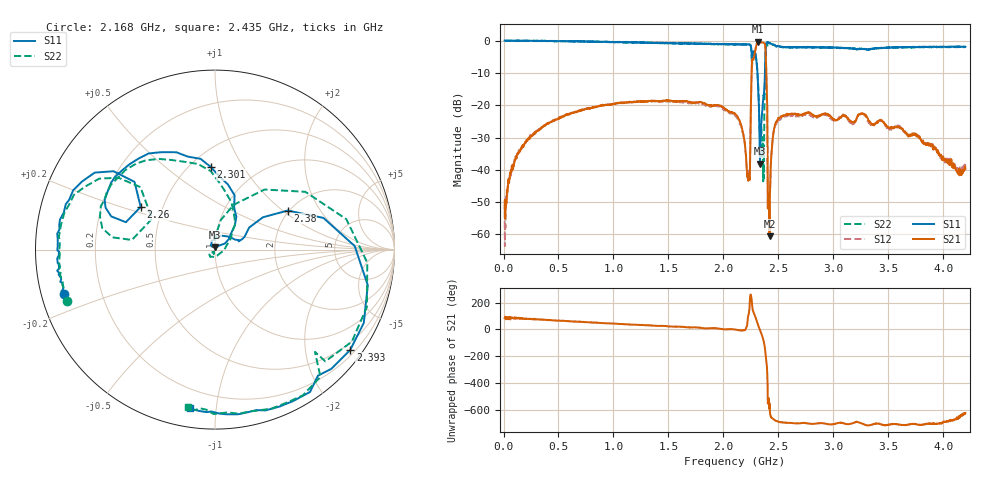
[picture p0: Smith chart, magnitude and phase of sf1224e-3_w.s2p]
!Agilent Technologies,E5071C,MY46104097,A.08.12
!Date: Thu Apr 20 13:38:49 2017
!Data & Calibration Information:
!Freq	S11:SOLT2(ON)	S21:SOLT2(ON)	S12:SOLT2(ON)	S22:SOLT2(ON)
# Hz S RI R 50
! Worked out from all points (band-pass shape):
!   1601 points, 10 MHz to 4.2 GHz, reference 50 ohm
!   highest |S21| = -0.34 dB at 2.317 GHz (marker M1); lowest = -60.6 dB at 2.419 GHz (marker M2)
!   |S21| within 3 dB of the highest: 2.287 GHz to 2.383 GHz (96.39 MHz wide, 4.13 % of centre)
!   lowest |S11| = -38.1 dB at 2.333 GHz (marker M3), VSWR 1.03, Z = 49.7 + j1.21 ohm
!   |S11| at or under -10 dB: 2.309 GHz to 2.377 GHz (67.74 MHz wide, 2.89 % of centre)
!   |S22| runs from -43.6 to 0.0 dB; largest |S21 - S12| = 0.035
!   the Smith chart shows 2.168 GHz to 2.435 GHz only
!   S11 on the Smith chart (normalised r, x): 2.168 GHz: 0.07, -0.14; 2.26 GHz: 0.38, +0.23; 2.301 GHz: 0.63, +0.73; 2.38 GHz: 1.96, +1.08; 2.393 GHz: 0.32, -2.99; 2.435 GHz: 0.10, -0.85
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1e7  1.004 -0.0155  0.000238 0.00249  -0.000707 0.00221  0.993 -0.0155
9.118125e7  0.9933 -0.1032  0.00121 0.0115  0.00106 0.0124  0.9939 -0.1076
2.247375e8  0.9591 -0.2651  0.00674 0.03  0.00464 0.0302  0.9564 -0.2734
7.092062e8  0.6476 -0.7245  0.0452 0.0686  0.0492 0.0704  0.6389 -0.734
1.408412e9  -0.0791 -0.918  0.1022 0.05  0.1053 0.0483  -0.0788 -0.9188
2.105e9  -0.7614 -0.416  0.0728 0.000171  0.0709 -0.000875  -0.7683 -0.4367
2.16785e9  -0.8393 -0.2478  0.0437 -0.00504  0.0427 -0.00288  -0.8235 -0.285
2.222844e9  -0.876 0.0391  -0.000281 0.00717  0.00036 0.00661  -0.8683 -0.0064
2.259506e9  -0.4141 0.2379  -0.4737 -0.0971  -0.4742 -0.1048  -0.3506 0.1718
2.277838e9  -0.558 0.4041  -0.2726 0.49  -0.2753 0.487  -0.6036 0.3165
2.301406e9  -0.023 0.46  0.3657 0.8094  0.3495 0.8294  -0.0955 0.4773
2.317119e9  0.1101 0.1339  0.8504 0.449  0.8643 0.4539  0.1129 0.145
2.332831e9  -0.00248 0.0122  0.9411 -0.0887  0.9484 -0.0879  0.0117 -0.0342
2.351162e9  0.021 0.0727  0.6584 -0.6688  0.6742 -0.685  -0.0256 -0.0197
2.379969e9  0.4047 0.2176  -0.7927 -0.272  -0.8021 -0.2493  0.2762 0.3347
2.393062e9  0.7532 -0.559  -0.0376 0.192  -0.0314 0.1935  0.7627 -0.5128
2.41925e9  0.0657 -0.9179  -0.000903 0.00023  -0.00325 0.0018  0.0691 -0.9073
2.434962e9  -0.1398 -0.8804  0.00651 0.0153  0.00892 0.0142  -0.1494 -0.8784
2.497812e9  -0.4595 -0.6781  0.0549 0.0322  0.0531 0.0298  -0.4754 -0.6754
2.804206e9  -0.7157 -0.316  0.0703 0.0173  0.0647 0.0165  -0.7181 -0.334
3.503412e9  -0.7759 0.1384  0.0442 0.00719  0.0409 0.00848  -0.768 0.1129
4.2e9  -0.5854 0.5542  -0.000772 0.0104  -0.000938 0.0121  -0.6085 0.5168
